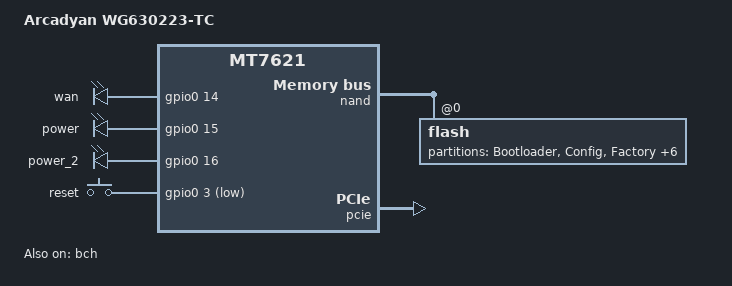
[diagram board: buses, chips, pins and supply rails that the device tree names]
/dts-v1/;

#include "mt7621.dtsi"
#include <dt-bindings/input/input.h>
#include "mt7621-raeth-gmac2.dtsi"
#include "mt7621-pinctrl-default-gpio.dtsi"

/ {
	compatible = "mediatek,mt7621-soc";
	model = "Arcadyan WG630223-TC";

	chosen {
		bootargs = "console=ttyS0,115200";
	};

	leds {
		compatible = "gpio-leds";
		sys_blue {
			label = "wan";
			gpios = <&gpio0 14 GPIO_ACTIVE_HIGH>;
		};

		sys_green {
			label = "power";
			gpios = <&gpio0 15 GPIO_ACTIVE_HIGH>;
		};
		sys_red {
			label = "power_2";
			gpios = <&gpio0 16 GPIO_ACTIVE_HIGH>;
		};
	};

	gpio-keys-polled {
		compatible = "gpio-keys-polled";
		#address-cells = <1>;
		#size-cells = <0>;
		poll-interval = <20>;

		reset {
			label = "reset";
			gpios = <&gpio0 3 GPIO_ACTIVE_LOW>;
			linux,code = <KEY_RESTART>;
		};
	};
};

&bch {
	status = "okay";
};

&nand {
	status = "okay";

	flash@0 {
		reg = <0>;
		nand-ecc-mode = "hw";
		partitions {
			compatible = "fixed-partitions";
			#address-cells = <1>;
			#size-cells = <1>;

			partition@0 {
				label = "Bootloader";
				reg = <0x0 0x80000>; /* 512k */
			};

			partition@80000 {
				label = "Config";
				reg = <0x80000 0x80000>; /* 512k */
			};

			partition@100000 {
				label = "Factory";
				reg = <0x100000 0x80000>; /* 512k */
			};

			partition@180000 {
				label = "firmware";
				reg = <0x180000 0x1400000>;	/* 24M */
			};

			partition@1580000 {
				label = "Storage";
				reg = <0x1580000 0x400000>; /* 4096K */
			};

			partition@1980000 {
				label = "firmware_backup";
				reg = <0x1980000 0x1800000>;
			};

			partition@3180000 {
				label = "firmware_mp";
				reg = <0x3180000 0x1800000>;
			};

			partition@4f80000 {
				label = "board_data";
				reg = <0x4f80000 0x200000>;
				read-only;
			};

			partition@all {
				label = "ALL";
				reg = <0x0 0x5180000>;
			};
		};
	};
};

&pcie {
	status = "okay";
};
